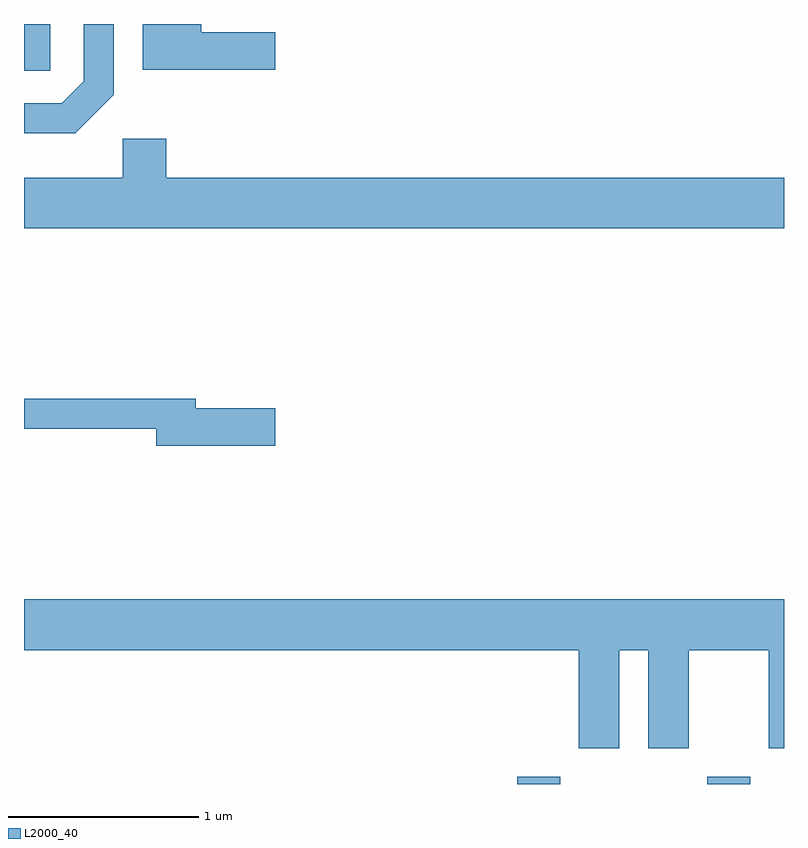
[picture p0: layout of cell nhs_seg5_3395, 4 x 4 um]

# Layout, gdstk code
import gdstk
lib = gdstk.Library(unit=1e-6, precision=1e-09)
def R(c, l, rs):  # rectangles x0, y0, x1, y1
    for r in rs: c.add(gdstk.rectangle(r[:2], r[2:], *l))
def P(c, l, *ps):  # polygons
    for p in ps: c.add(gdstk.Polygon(p, *l))
L2000_40 = (2000, 40)

nhs_seg5_3395 = lib.new_cell('nhs_seg5_3395')
R(nhs_seg5_3395, L2000_40, [(288.206,1476.072,288.434,1476.109), (289.206,1476.072,289.434,1476.109), (285.611,1479.826,285.749,1480.072)])
P(nhs_seg5_3395, L2000_40, [(286.934,1480.029),(286.544,1480.029),(286.544,1480.072),(286.236,1480.072),(286.236,1479.831),(286.934,1479.831)],
  [(286.084,1479.699),(286.084,1480.072),(285.926,1480.072),(285.926,1479.772),(285.809,1479.654),(285.611,1479.654),(285.611,1479.496),(285.882,1479.496)],
  [(289.611,1479.264),(286.359,1479.264),(286.359,1479.469),(286.131,1479.469),(286.131,1479.264),(285.611,1479.264),(285.611,1478.996),(289.611,1478.996)],
  [(286.934,1478.049),(286.514,1478.049),(286.514,1478.099),(285.611,1478.099),(285.611,1477.941),(286.306,1477.941),(286.306,1477.851),(286.934,1477.851)],
  [(288.744,1476.776),(288.896,1476.776),(288.896,1476.261),(289.109,1476.261),(289.109,1476.776),(289.531,1476.776),(289.531,1476.261),(289.611,1476.261),(289.611,1477.044),(285.611,1477.044),(285.611,1476.776),(288.531,1476.776),(288.531,1476.261),(288.744,1476.261)])

lib.write_gds('nhs_seg5_3395.gds')
